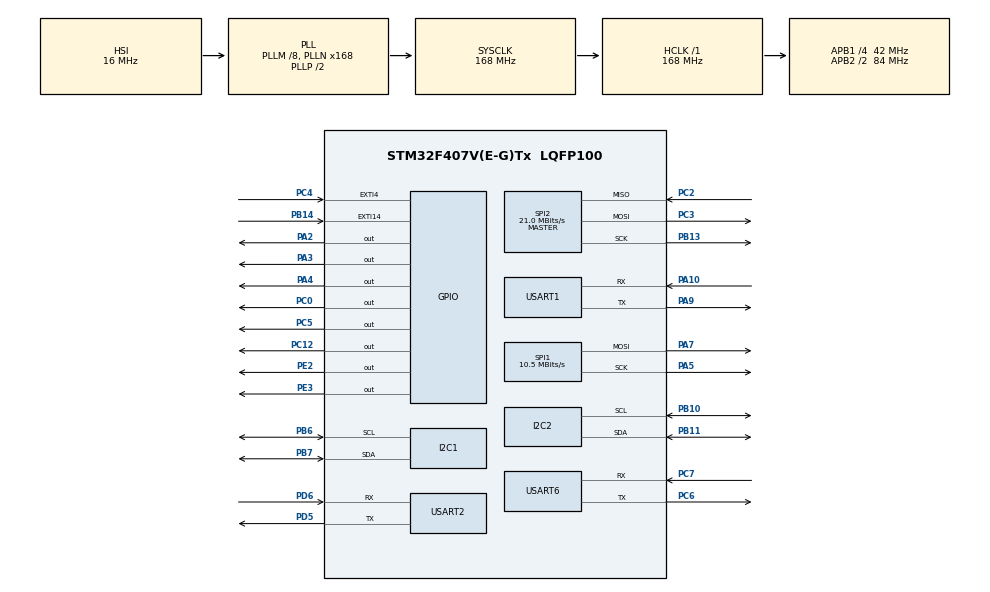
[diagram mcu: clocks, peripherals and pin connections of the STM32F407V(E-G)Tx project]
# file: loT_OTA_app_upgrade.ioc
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Dma.I2C1_RX.1.Direction=DMA_PERIPH_TO_MEMORY
Dma.I2C1_RX.1.FIFOMode=DMA_FIFOMODE_DISABLE
Dma.I2C1_RX.1.Instance=DMA1_Stream0
Dma.I2C1_RX.1.MemDataAlignment=DMA_MDATAALIGN_BYTE
Dma.I2C1_RX.1.MemInc=DMA_MINC_ENABLE
Dma.I2C1_RX.1.Mode=DMA_NORMAL
Dma.I2C1_RX.1.PeriphDataAlignment=DMA_PDATAALIGN_BYTE
Dma.I2C1_RX.1.PeriphInc=DMA_PINC_DISABLE
Dma.I2C1_RX.1.Priority=DMA_PRIORITY_LOW
Dma.I2C1_TX.2.Direction=DMA_MEMORY_TO_PERIPH
Dma.I2C1_TX.2.FIFOMode=DMA_FIFOMODE_DISABLE
Dma.I2C1_TX.2.Instance=DMA1_Stream7
Dma.I2C1_TX.2.MemDataAlignment=DMA_MDATAALIGN_BYTE
Dma.I2C1_TX.2.MemInc=DMA_MINC_ENABLE
Dma.I2C1_TX.2.Mode=DMA_NORMAL
Dma.I2C1_TX.2.PeriphDataAlignment=DMA_PDATAALIGN_BYTE
Dma.I2C1_TX.2.PeriphInc=DMA_PINC_DISABLE
Dma.I2C1_TX.2.Priority=DMA_PRIORITY_LOW
Dma.Request0=SPI1_TX
Dma.Request1=I2C1_RX
Dma.Request2=I2C1_TX
Dma.Request3=USART6_TX
Dma.Request4=USART2_TX
Dma.Request5=USART2_RX
Dma.SPI1_TX.0.Direction=DMA_MEMORY_TO_PERIPH
Dma.SPI1_TX.0.FIFOMode=DMA_FIFOMODE_DISABLE
Dma.SPI1_TX.0.Instance=DMA2_Stream3
Dma.SPI1_TX.0.MemDataAlignment=DMA_MDATAALIGN_BYTE
Dma.SPI1_TX.0.MemInc=DMA_MINC_ENABLE
Dma.SPI1_TX.0.Mode=DMA_NORMAL
Dma.SPI1_TX.0.PeriphDataAlignment=DMA_PDATAALIGN_BYTE
Dma.SPI1_TX.0.PeriphInc=DMA_PINC_DISABLE
Dma.SPI1_TX.0.Priority=DMA_PRIORITY_LOW
Dma.USART2_RX.5.Direction=DMA_PERIPH_TO_MEMORY
Dma.USART2_RX.5.FIFOMode=DMA_FIFOMODE_DISABLE
Dma.USART2_RX.5.Instance=DMA1_Stream5
Dma.USART2_RX.5.MemDataAlignment=DMA_MDATAALIGN_BYTE
Dma.USART2_RX.5.MemInc=DMA_MINC_ENABLE
Dma.USART2_RX.5.Mode=DMA_NORMAL
Dma.USART2_RX.5.PeriphDataAlignment=DMA_PDATAALIGN_BYTE
Dma.USART2_RX.5.PeriphInc=DMA_PINC_DISABLE
Dma.USART2_RX.5.Priority=DMA_PRIORITY_LOW
Dma.USART2_TX.4.Direction=DMA_MEMORY_TO_PERIPH
Dma.USART2_TX.4.FIFOMode=DMA_FIFOMODE_DISABLE
Dma.USART2_TX.4.Instance=DMA1_Stream6
Dma.USART2_TX.4.MemDataAlignment=DMA_MDATAALIGN_BYTE
Dma.USART2_TX.4.MemInc=DMA_MINC_ENABLE
Dma.USART2_TX.4.Mode=DMA_NORMAL
Dma.USART2_TX.4.PeriphDataAlignment=DMA_PDATAALIGN_BYTE
Dma.USART2_TX.4.PeriphInc=DMA_PINC_DISABLE
Dma.USART2_TX.4.Priority=DMA_PRIORITY_LOW
Dma.USART6_TX.3.Direction=DMA_MEMORY_TO_PERIPH
Dma.USART6_TX.3.FIFOMode=DMA_FIFOMODE_DISABLE
Dma.USART6_TX.3.Instance=DMA2_Stream6
Dma.USART6_TX.3.MemDataAlignment=DMA_MDATAALIGN_BYTE
Dma.USART6_TX.3.MemInc=DMA_MINC_ENABLE
Dma.USART6_TX.3.Mode=DMA_NORMAL
Dma.USART6_TX.3.PeriphDataAlignment=DMA_PDATAALIGN_BYTE
Dma.USART6_TX.3.PeriphInc=DMA_PINC_DISABLE
Dma.USART6_TX.3.Priority=DMA_PRIORITY_LOW
FREERTOS.Tasks01=defaultTask,24,128,StartDefaultTask,Default,NULL,Dynamic,NULL,NULL
FREERTOS.configTOTAL_HEAP_SIZE=40720
FREERTOS.configUSE_PREEMPTION=1
I2C2.I2C_Mode=I2C_Standard
Mcu.Family=STM32F4
Mcu.Name=STM32F407V(E-G)Tx
Mcu.Package=LQFP100
NVIC.DMA1_Stream0_IRQn=true\:5\:0\:false\:false\:true\:true\:false\:true\:true
NVIC.DMA1_Stream5_IRQn=true\:5\:0\:false\:false\:true\:true\:false\:true\:true
NVIC.DMA1_Stream6_IRQn=true\:5\:0\:false\:false\:true\:true\:false\:true\:true
NVIC.DMA1_Stream7_IRQn=true\:5\:0\:false\:false\:true\:false\:false\:true\:true
NVIC.DMA2_Stream3_IRQn=true\:5\:0\:false\:false\:true\:true\:false\:true\:true
NVIC.DMA2_Stream6_IRQn=true\:5\:0\:false\:false\:true\:true\:false\:true\:true
NVIC.EXTI15_10_IRQn=true\:5\:0\:true\:false\:true\:true\:true\:true\:true
NVIC.EXTI4_IRQn=true\:5\:0\:false\:false\:true\:true\:true\:true\:true
NVIC.I2C1_ER_IRQn=true\:5\:0\:false\:false\:true\:true\:true\:true\:true
NVIC.I2C1_EV_IRQn=true\:5\:0\:false\:false\:true\:true\:true\:true\:true
NVIC.PriorityGroup=NVIC_PRIORITYGROUP_4
NVIC.SPI1_IRQn=true\:5\:0\:false\:false\:true\:true\:true\:true\:true
NVIC.SPI2_IRQn=true\:5\:0\:false\:false\:true\:true\:true\:true\:true
NVIC.TIM6_DAC_IRQn=true\:5\:0\:true\:false\:true\:true\:true\:true\:true
NVIC.TIM7_IRQn=true\:0\:0\:false\:false\:true\:false\:true\:true\:true
NVIC.TimeBase=TIM7_IRQn
NVIC.TimeBaseIP=TIM7
NVIC.USART1_IRQn=true\:5\:0\:true\:false\:true\:true\:true\:true\:true
NVIC.USART2_IRQn=true\:5\:0\:false\:false\:true\:true\:true\:true\:true
NVIC.USART6_IRQn=true\:5\:0\:false\:false\:true\:true\:true\:true\:true
PA10.Mode=Asynchronous
PA10.Signal=USART1_RX
PA2.GPIO_ModeDefaultOutputPP=GPIO_MODE_OUTPUT_PP
PA2.PinState=GPIO_PIN_SET
PA2.Signal=GPIO_Output
PA3.GPIO_ModeDefaultOutputPP=GPIO_MODE_OUTPUT_PP
PA3.PinState=GPIO_PIN_SET
PA3.Signal=GPIO_Output
PA4.GPIO_PuPd=GPIO_PULLUP
PA4.PinState=GPIO_PIN_SET
PA4.Signal=GPIO_Output
PA5.Mode=TX_Only_Simplex_Unidirect_Master
PA5.Signal=SPI1_SCK
PA6.Signal=SPI1_MISO
PA7.Mode=TX_Only_Simplex_Unidirect_Master
PA7.Signal=SPI1_MOSI
PA9.Mode=Asynchronous
PA9.Signal=USART1_TX
PB10.GPIO_Pu=GPIO_PULLUP
PB10.Mode=I2C
PB10.Signal=I2C2_SCL
PB11.GPIO_Pu=GPIO_PULLUP
PB11.Mode=I2C
PB11.Signal=I2C2_SDA
PB13.Mode=Full_Duplex_Master
PB13.Signal=SPI2_SCK
PB14.GPIO_ModeDefaultEXTI=GPIO_MODE_IT_FALLING
PB14.GPIO_PuPd=GPIO_PULLUP
PB14.Signal=GPXTI14
PB6.GPIO_Pu=GPIO_PULLUP
PB6.Mode=I2C
PB6.Signal=I2C1_SCL
PB7.GPIO_Pu=GPIO_PULLUP
PB7.Mode=I2C
PB7.Signal=I2C1_SDA
PC0.Signal=GPIO_Output
PC12.PinState=GPIO_PIN_SET
PC12.Signal=GPIO_Output
PC2.Mode=Full_Duplex_Master
PC2.Signal=SPI2_MISO
PC3.Mode=Full_Duplex_Master
PC3.Signal=SPI2_MOSI
PC4.GPIO_ModeDefaultEXTI=GPIO_MODE_IT_FALLING
PC4.GPIO_PuPd=GPIO_PULLUP
PC4.Signal=GPXTI4
PC5.PinState=GPIO_PIN_SET
PC5.Signal=GPIO_Output
PC6.Mode=Asynchronous
PC6.Signal=USART6_TX
PC7.Mode=Asynchronous
PC7.Signal=USART6_RX
PD5.Mode=Asynchronous
PD5.Signal=USART2_TX
PD6.Mode=Asynchronous
PD6.Signal=USART2_RX
PE2.GPIO_ModeDefaultOutputPP=GPIO_MODE_OUTPUT_OD
PE2.GPIO_PuPd=GPIO_PULLUP
PE2.GPIO_Speed=GPIO_SPEED_FREQ_HIGH
PE2.PinState=GPIO_PIN_SET
PE2.Signal=GPIO_Output
PE3.GPIO_ModeDefaultOutputPP=GPIO_MODE_OUTPUT_OD
PE3.GPIO_PuPd=GPIO_PULLUP
PE3.GPIO_Speed=GPIO_SPEED_FREQ_HIGH
PE3.PinState=GPIO_PIN_SET
PE3.Signal=GPIO_Output
ProjectManager.HeapSize=0x200
ProjectManager.StackSize=0x400
ProjectManager.TargetToolchain=MDK-ARM V5
RCC.48MHZClocksFreq_Value=84000000
RCC.AHBFreq_Value=168000000
RCC.APB1CLKDivider=RCC_HCLK_DIV4
RCC.APB1Freq_Value=42000000
RCC.APB1TimFreq_Value=84000000
RCC.APB2CLKDivider=RCC_HCLK_DIV2
RCC.APB2Freq_Value=84000000
RCC.APB2TimFreq_Value=168000000
RCC.CortexFreq_Value=168000000
RCC.HCLKFreq_Value=168000000
RCC.HSE_VALUE=25000000
RCC.HSI_VALUE=16000000
RCC.LSE_VALUE=32768
RCC.PLLM=8
RCC.PLLN=168
RCC.SYSCLKFreq_VALUE=168000000
RCC.SYSCLKSource=RCC_SYSCLKSOURCE_PLLCLK
RCC.VCOOutputFreq_Value=336000000
SPI1.BaudRatePrescaler=SPI_BAUDRATEPRESCALER_8
SPI1.CalculateBaudRate=10.5 MBits/s
SPI1.Direction=SPI_DIRECTION_2LINES
SPI1.Mode=SPI_MODE_MASTER
SPI1.VirtualType=VM_MASTER
SPI2.CalculateBaudRate=21.0 MBits/s
SPI2.Direction=SPI_DIRECTION_2LINES
SPI2.Mode=SPI_MODE_MASTER
SPI2.VirtualType=VM_MASTER
TIM6.AutoReloadPreload=TIM_AUTORELOAD_PRELOAD_ENABLE
TIM6.Prescaler=83
USART1.StopBits=STOPBITS_2
USART1.VirtualMode=VM_ASYNC
USART2.VirtualMode=VM_ASYNC
USART6.VirtualMode=VM_ASYNC
VP_FREERTOS_VS_CMSIS_V2.Mode=CMSIS_V2
VP_SYS_VS_tim7.Mode=TIM7
VP_TIM6_VS_ClockSourceINT.Mode=Enable_Timer
board=custom

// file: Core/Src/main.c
/* USER CODE BEGIN Header */
/**
  ******************************************************************************
  * @file           : main.c
  * @brief          : Main program body
  ******************************************************************************
  * @attention
  *
  * <h2><center>&copy; Copyright (c) 2026 STMicroelectronics.
  * All rights reserved.</center></h2>
  *
  * This software component is licensed by ST under BSD 3-Clause license,
  * the "License"; You may not use this file except in compliance with the
  * License. You may obtain a copy of the License at:
  *                        opensource.org/licenses/BSD-3-Clause
  *
  ******************************************************************************
  */
/* USER CODE END Header */
#include "main.h"
#include "cmsis_os.h"
#include "dma.h"
#include "i2c.h"
#include "iwdg.h"
#include "spi.h"
#include "tim.h"
#include "usart.h"
#include "gpio.h"

/* USER CODE BEGIN Includes */
#include "OLED.h"
#include "ST7789V.h"
#include "Modbus_Rtu.h"
#include "OTA.h"
#include "Broker.h"
/* USER CODE END Includes */

void SystemClock_Config(void);
void MX_FREERTOS_Init(void);

int main(void)
{

  /* USER CODE BEGIN 1 */
	SCB->VTOR=APP_EP_ADDRESS;
	__enable_irq();
  /* USER CODE END 1 */

  /* MCU Configuration--------------------------------------------------------*/

  /* Reset of all peripherals, Initializes the Flash interface and the Systick. */
  HAL_Init();

  /* Configure the system clock */
  SystemClock_Config();

  /* USER CODE BEGIN SysInit */

//xPortSysTickHandler
  /* USER CODE END SysInit */

  /* Initialize all configured peripherals */
  MX_GPIO_Init();
  MX_DMA_Init();
  MX_I2C1_Init();
  MX_SPI1_Init();
  MX_I2C2_Init();
  MX_TIM6_Init();
  MX_USART1_UART_Init();
  MX_SPI2_Init();
  MX_USART6_UART_Init();
  MX_USART2_UART_Init();
  MX_IWDG_Init();
  /* USER CODE BEGIN 2 */
  __HAL_DBGMCU_FREEZE_IWDG();
  Broker_Init();
  OLED_Init(&SoftI2C1_Obj);
  OLED_ShowNum(1,1,2,1);
	LOG_DEBUG("Task start");
	HAL_Delay(1000);
	/* intentional bug */
	void (*p)(void) = 0;
	p();
  /* USER CODE END 2 */

  /* Init scheduler */
  osKernelInitialize();  /* Call init function for freertos objects (in cmsis_os2.c) */
  MX_FREERTOS_Init();

  /* Start scheduler */
  osKernelStart();

  /* We should never get here as control is now taken by the scheduler */

  /* Infinite loop */
  while (1)
  {

  }
}

void SystemClock_Config(void)
{
  RCC_OscInitTypeDef RCC_OscInitStruct = {0};
  RCC_ClkInitTypeDef RCC_ClkInitStruct = {0};

  /** Configure the main internal regulator output voltage
  */
  __HAL_RCC_PWR_CLK_ENABLE();
  __HAL_PWR_VOLTAGESCALING_CONFIG(PWR_REGULATOR_VOLTAGE_SCALE1);

  /** Initializes the RCC Oscillators according to the specified parameters
  * in the RCC_OscInitTypeDef structure.
  */
  RCC_OscInitStruct.OscillatorType = RCC_OSCILLATORTYPE_HSI|RCC_OSCILLATORTYPE_LSI;
  RCC_OscInitStruct.HSIState = RCC_HSI_ON;
  RCC_OscInitStruct.HSICalibrationValue = RCC_HSICALIBRATION_DEFAULT;
  RCC_OscInitStruct.LSIState = RCC_LSI_ON;
  RCC_OscInitStruct.PLL.PLLState = RCC_PLL_ON;
  RCC_OscInitStruct.PLL.PLLSource = RCC_PLLSOURCE_HSI;
  RCC_OscInitStruct.PLL.PLLM = 8;
  RCC_OscInitStruct.PLL.PLLN = 168;
  RCC_OscInitStruct.PLL.PLLP = RCC_PLLP_DIV2;
  RCC_OscInitStruct.PLL.PLLQ = 4;
  if (HAL_RCC_OscConfig(&RCC_OscInitStruct) != HAL_OK)
  {
    Error_Handler();
  }

  /** Initializes the CPU, AHB and APB buses clocks
  */
  RCC_ClkInitStruct.ClockType = RCC_CLOCKTYPE_HCLK|RCC_CLOCKTYPE_SYSCLK
                              |RCC_CLOCKTYPE_PCLK1|RCC_CLOCKTYPE_PCLK2;
  RCC_ClkInitStruct.SYSCLKSource = RCC_SYSCLKSOURCE_PLLCLK;
  RCC_ClkInitStruct.AHBCLKDivider = RCC_SYSCLK_DIV1;
  RCC_ClkInitStruct.APB1CLKDivider = RCC_HCLK_DIV4;
  RCC_ClkInitStruct.APB2CLKDivider = RCC_HCLK_DIV2;

  if (HAL_RCC_ClockConfig(&RCC_ClkInitStruct, FLASH_LATENCY_5) != HAL_OK)
  {
    Error_Handler();
  }
}

void HAL_TIM_PeriodElapsedCallback(TIM_HandleTypeDef *htim)
{
  if (htim->Instance == TIM7)
  {
    HAL_IncTick();
  }
  /* USER CODE BEGIN Callback 1 */
	Modbus_TIM_PeriodElapsedCallback(htim);
  /* USER CODE END Callback 1 */
}

void Error_Handler(void)
{
  __disable_irq();
  while (1)
  {
  }
}

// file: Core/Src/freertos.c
/* USER CODE BEGIN Header */
/**
  ******************************************************************************
  * File Name          : freertos.c
  * Description        : Code for freertos applications
  ******************************************************************************
  * @attention
  *
  * <h2><center>&copy; Copyright (c) 2026 STMicroelectronics.
  * All rights reserved.</center></h2>
  *
  * This software component is licensed by ST under Ultimate Liberty license
  * SLA0044, the "License"; You may not use this file except in compliance with
  * the License. You may obtain a copy of the License at:
  *                             www.st.com/SLA0044
  *
  ******************************************************************************
  */
/* USER CODE END Header */

#include "FreeRTOS.h"
#include "task.h"
#include "main.h"
#include "cmsis_os.h"

/* USER CODE BEGIN Includes */
#include "MAX30102.h"
#include "GUI.h"
#include "Modbus.h"
#include "AT_Command.h"
#include "MQTT.h"
#include "OTA.h"
/* USER CODE END Includes */

/* USER CODE BEGIN Variables */
	TaskHandle_t xMAX_TaskHandle_t;
	TaskHandle_t g_ModbusHandle_t;
	TaskHandle_t xGUI_TaskHandler;
	TaskHandle_t xMQTT_TaskHandler;
	TaskHandle_t xOTA_TaskHandler;
	TaskHandle_t xLED_TaskHandler;
void LED_Task(void* arg)
{
	LOG_DEBUG("LED");
	while(1)
	{
		HAL_GPIO_TogglePin(GPIOC,GPIO_PIN_12);
		vTaskDelay(1000);
		LOG_DEBUG("LED");
	}
}
/* USER CODE END Variables */
/* Definitions for defaultTask */
osThreadId_t defaultTaskHandle;
const osThreadAttr_t defaultTask_attributes = {
  .name = "defaultTask",
  .stack_size = 128 * 4,
  .priority = (osPriority_t) osPriorityNormal,
};

/* USER CODE BEGIN FunctionPrototypes */

//PendSV
/* USER CODE END FunctionPrototypes */

void StartDefaultTask(void *argument);

void MX_FREERTOS_Init(void); /* (MISRA C 2004 rule 8.1) */

void MX_FREERTOS_Init(void) {

  /* Create the thread(s) */
  /* creation of defaultTask */
  defaultTaskHandle = osThreadNew(StartDefaultTask, NULL, &defaultTask_attributes);

  /* USER CODE BEGIN RTOS_THREADS */
  /* add threads, ... */
    xTaskCreate(LED_Task,"LED_Task",128,NULL,1,&xLED_TaskHandler);
	//xTaskCreate(MAX30102_Task,"MAX30102_Task",256,NULL,11,&xMAX_TaskHandle_t);
	//xTaskCreate(MQTT_Task,"MQTT_Task",256,NULL,10,&xMQTT_TaskHandler);
	//xTaskCreate(OTA_Task,"OTA_Task",512,NULL,6,&xOTA_TaskHandler);
	//xTaskCreate(GUI_Task,"GUI_Task",1280,NULL,2,&xGUI_TaskHandler);
	//xTaskCreate(Modbus_Task,"modbus",256,NULL,6,&g_ModbusHandle_t);

  /* USER CODE END RTOS_THREADS */

}

void StartDefaultTask(void *argument)
{
  for(;;)
  {
    osDelay(1);
  }
}
